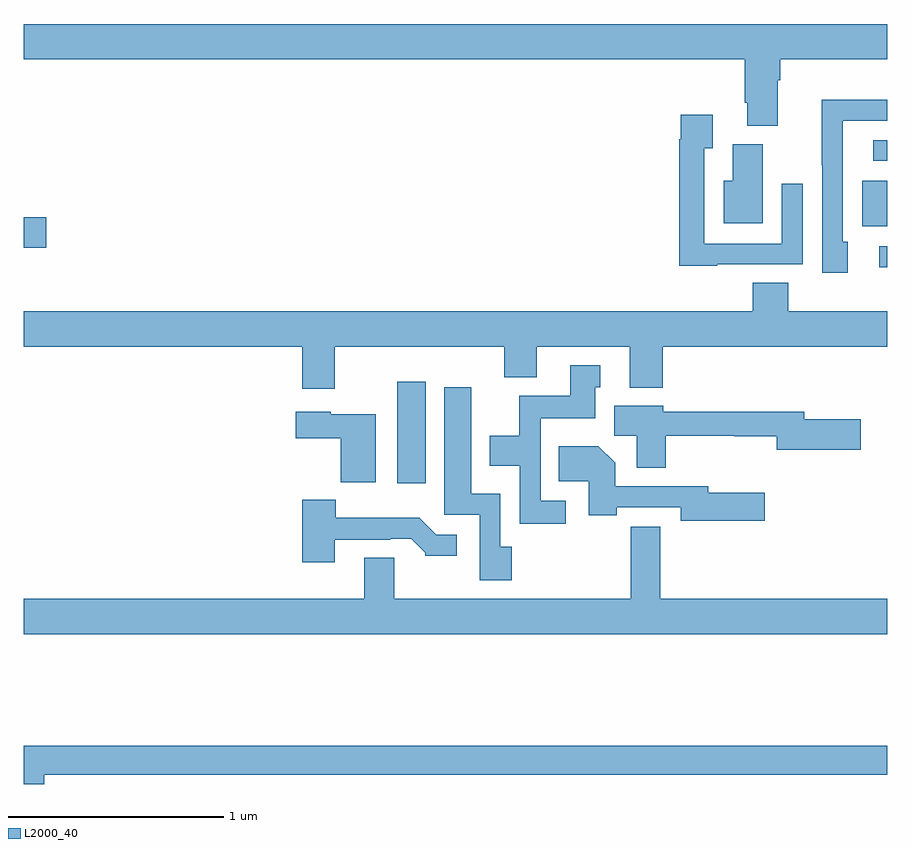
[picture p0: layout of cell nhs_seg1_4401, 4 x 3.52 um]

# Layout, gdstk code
import gdstk
lib = gdstk.Library(unit=1e-6, precision=1e-09)
def R(c, l, rs):  # rectangles x0, y0, x1, y1
    for r in rs: c.add(gdstk.rectangle(r[:2], r[2:], *l))
def P(c, l, *ps):  # polygons
    for p in ps: c.add(gdstk.Polygon(p, *l))
L2000_40 = (2000, 40)

nhs_seg1_4401 = lib.new_cell('nhs_seg1_4401')
R(nhs_seg1_4401, L2000_40, [(352.73,517.8,352.861,518.269), (354.963,518.801,355,518.898), (351,518.89,351.103,519.032), (354.884,518.991,355,519.202), (354.936,519.294,355,519.39)])
P(nhs_seg1_4401, L2000_40, [(354.493,519.668),(354.506,519.668),(354.506,519.764),(355,519.764),(355,519.928),(351,519.928),(351,519.764),(354.341,519.764),(354.341,519.562),(354.353,519.562),(354.353,519.457),(354.493,519.457)],
  [(354.817,518.919),(354.795,518.919),(354.795,519.48),(355,519.48),(355,519.578),(354.698,519.578),(354.698,519.274),(354.699,519.274),(354.699,518.775),(354.817,518.775)],
  [(354.213,518.814),(354.609,518.814),(354.609,519.187),(354.513,519.187),(354.513,518.91),(354.153,518.91),(354.153,519.352),(354.193,519.352),(354.193,519.508),(354.045,519.508),(354.045,519.395),(354.037,519.395),(354.037,518.807),(354.213,518.807)],
  [(354.424,519.371),(354.284,519.371),(354.284,519.202),(354.242,519.202),(354.242,519.005),(354.424,519.005)],
  [(352.441,518.432),(353.225,518.432),(353.225,518.291),(353.377,518.291),(353.377,518.432),(353.807,518.432),(353.807,518.243),(353.96,518.243),(353.96,518.432),(355,518.432),(355,518.596),(354.542,518.596),(354.542,518.729),(354.377,518.729),(354.377,518.596),(351,518.596),(351,518.432),(352.289,518.432),(352.289,518.238),(352.441,518.238)],
  [(353.512,517.719),(353.394,517.719),(353.394,518.102),(353.647,518.102),(353.647,518.244),(353.671,518.244),(353.671,518.347),(353.531,518.347),(353.531,518.206),(353.296,518.206),(353.296,518.02),(353.159,518.02),(353.159,517.88),(353.298,517.88),(353.298,517.611),(353.512,517.611)],
  [(353.261,517.506),(353.208,517.506),(353.208,517.75),(353.074,517.75),(353.074,518.245),(352.949,518.245),(352.949,517.653),(353.112,517.653),(353.112,517.35),(353.261,517.35)],
  [(353.975,518.02),(354.292,518.02),(354.292,518.017),(354.488,518.017),(354.488,517.955),(354.877,517.955),(354.877,518.097),(354.616,518.097),(354.616,518.131),(353.962,518.131),(353.962,518.158),(353.735,518.158),(353.735,518.02),(353.84,518.02),(353.84,517.871),(353.975,517.871)],
  [(352.63,518.119),(352.422,518.119),(352.422,518.131),(352.26,518.131),(352.26,518.009),(352.468,518.009),(352.468,517.805),(352.63,517.805)],
  [(354.433,517.756),(354.172,517.756),(354.172,517.785),(353.74,517.785),(353.74,517.894),(353.662,517.972),(353.479,517.972),(353.479,517.808),(353.618,517.808),(353.618,517.651),(353.748,517.651),(353.748,517.689),(354.044,517.689),(354.044,517.627),(354.433,517.627)],
  [(352.441,517.539),(352.697,517.539),(352.697,517.542),(352.796,517.542),(352.86,517.478),(352.86,517.463),(353.005,517.463),(353.005,517.56),(352.911,517.56),(352.833,517.639),(352.444,517.639),(352.444,517.723),(352.289,517.723),(352.289,517.434),(352.441,517.434)],
  [(355,517.264),(353.948,517.264),(353.948,517.597),(353.812,517.597),(353.812,517.264),(352.717,517.264),(352.717,517.454),(352.577,517.454),(352.577,517.264),(351,517.264),(351,517.1),(355,517.1)],
  [(351.094,516.448),(355,516.448),(355,516.584),(351,516.584),(351,516.406),(351.094,516.406)])

lib.write_gds('nhs_seg1_4401.gds')
